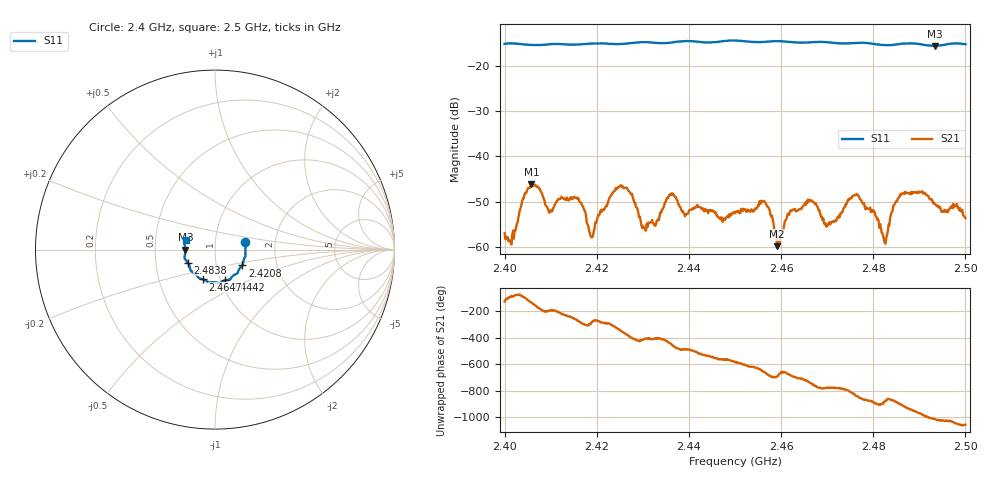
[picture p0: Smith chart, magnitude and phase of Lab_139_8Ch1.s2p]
# Hz S RI R 50
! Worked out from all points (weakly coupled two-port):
!   601 points, 2.4 GHz to 2.5 GHz, reference 50 ohm
!   highest |S21| = -46.17 dB at 2.4058 GHz (marker M1); lowest = -59.8 dB at 2.4592 GHz (marker M2)
!   lowest |S11| = -15.7 dB at 2.4933 GHz (marker M3), VSWR 1.39, Z = 35.8 + j0.0239 ohm
!   |S11| at or under -10 dB: start of sweep to end of sweep
!   S12 and S22 are empty: the file has one direction only
!   S11 on the Smith chart (normalised r, x): 2.4 GHz: 1.40, +0.12; 2.4208 GHz: 1.33, -0.24; 2.4442 GHz: 1.05, -0.37; 2.4647 GHz: 0.83, -0.28; 2.4838 GHz: 0.73, -0.11; 2.5 GHz: 0.71, +0.08
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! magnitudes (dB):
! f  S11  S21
! 2.4 GHz  -15.2  -56.9
! 2.4058 GHz  -15.4  -46.2
! 2.4167 GHz  -15.3  -50.3
! 2.4188 GHz  -15.1  -57.9
! 2.4208 GHz  -15.1  -51.9
! 2.4252 GHz  -15.2  -46.4
! 2.4302 GHz  -14.8  -55.9
! 2.4333 GHz  -15.0  -53.8
! 2.4362 GHz  -14.9  -48.6
! 2.4442 GHz  -14.9  -52.6
! 2.45 GHz  -14.5  -52.6
! 2.4562 GHz  -14.8  -49.8
! 2.4592 GHz  -14.6  -59.8
! 2.4647 GHz  -14.9  -51.1
! 2.4667 GHz  -14.8  -49.8
! 2.4702 GHz  -14.9  -55.2
! 2.4763 GHz  -15.0  -48.4
! 2.4833 GHz  -15.5  -55.1
! 2.4838 GHz  -15.5  -52.9
! 2.4867 GHz  -15.1  -48.0
! 2.4933 GHz  -15.7  -50.5
! 2.5 GHz  -15.3  -53.6
